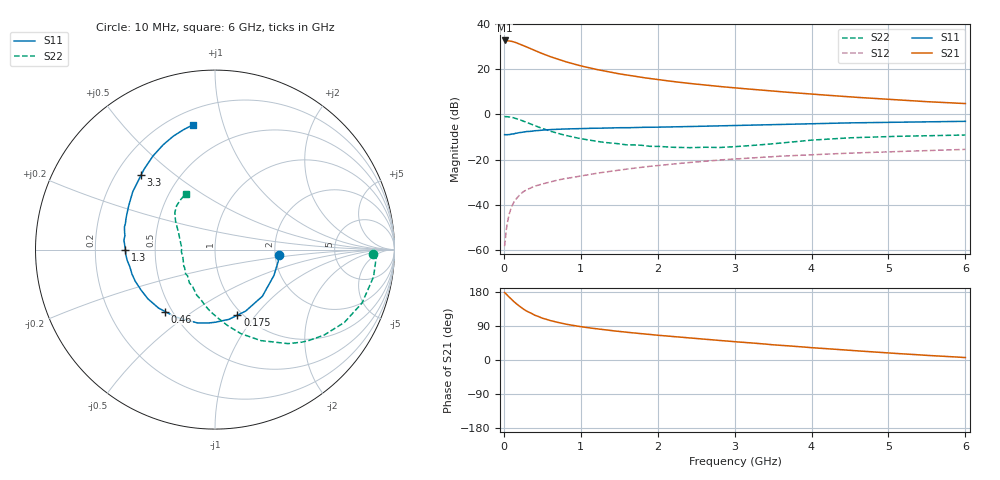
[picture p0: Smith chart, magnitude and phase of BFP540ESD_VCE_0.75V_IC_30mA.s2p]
! Infineon Technologies  Discrete & RF Semiconductors
! BFP540ESD
! VCE = 0.75 V,  IC =  30 mA
! Common Emitter S-Parameters:  Nov 2015
# GHz  S  MA  R  50
!  f  S11  S21  S12  S22
! GHz  MAG  ANG  MAG  ANG  MAG  ANG  MAG  ANG
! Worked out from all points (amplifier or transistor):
!   210 points, 10 MHz to 6 GHz, reference 50 ohm
!   highest |S21| = 32.8 dB at 10 MHz (marker M1)
!   |S21| within 3 dB of that: start of sweep to 303.3 MHz
!   unconditionally stable (mu >= 1): start of sweep to 22.93 MHz; 1.597 GHz to end of sweep
!   at 185 MHz: K = 0.32, MSG = 34.0 dB, |S12| = -36.5 dB
!   at 1.52 GHz: K = 0.98, MSG = 21.3 dB, |S12| = -24.6 dB
!   at 6 GHz: K = 1.13, MAG = 7.9 dB, |S12| = -15.5 dB
!   S11 on the Smith chart (normalised r, x): 10 MHz: 2.09, -0.14; 175 MHz: 0.95, -0.81; 460 MHz: 0.46, -0.39; 1.3 GHz: 0.33, -0.00; 3.3 GHz: 0.30, +0.38; 6 GHz: 0.29, +0.79
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0.01  0.3564 -4.8  43.9 178.0  0.0012 109.7  0.8819 -1.7
0.05  0.3586 -23.7  43.49 169.9  0.0043 89.5  0.8964 -9.7
0.1  0.3705 -44.6  42.16 159.8  0.009 80.2  0.8716 -20.0
0.15  0.3829 -63.5  39.76 150.4  0.0128 73.5  0.8271 -29.4
0.175  0.3862 -71.2  38.28 146.5  0.0144 70.4  0.7977 -33.6
0.2  0.3963 -78.7  36.99 142.3  0.016 67.9  0.7727 -38.0
0.24  0.4045 -89.6  34.57 136.5  0.0186 66.0  0.7287 -44.0
0.3  0.4201 -103.5  31.25 128.7  0.0215 63.0  0.6638 -52.1
0.4  0.4357 -120.8  26.28 118.4  0.0257 58.7  0.5683 -63.2
0.46  0.4431 -128.8  23.91 113.9  0.0275 57.9  0.5199 -68.6
0.5  0.4528 -134.0  22.42 110.4  0.0287 57.4  0.4906 -72.8
0.6  0.4637 -143.7  19.26 104.3  0.0319 57.0  0.4295 -80.5
0.7  0.4698 -151.5  16.89 99.2  0.0351 55.9  0.3825 -87.4
0.82  0.4785 -159.4  14.56 94.1  0.0384 55.7  0.3392 -95.5
1.02  0.4858 -169.6  11.78 87.4  0.0439 55.7  0.2866 -106.8
1.3  0.4987 -179.7  9.262 80.0  0.0522 54.7  0.2407 -121.2
2.02  0.5253 160.7  5.879 65.0  0.0741 50.9  0.196 -152.5
3.1  0.5733 138.6  3.77 46.9  0.1059 42.2  0.1984 166.9
3.3  0.5845 134.8  3.527 43.7  0.1114 40.0  0.2102 160.6
4.1  0.6304 121.9  2.755 31.2  0.1301 32.2  0.2765 142.9
5.1  0.6764 109.0  2.119 17.3  0.1502 22.7  0.3275 129.6
6  0.7054 100.2  1.748 6.4  0.1684 15.4  0.3508 117.5
